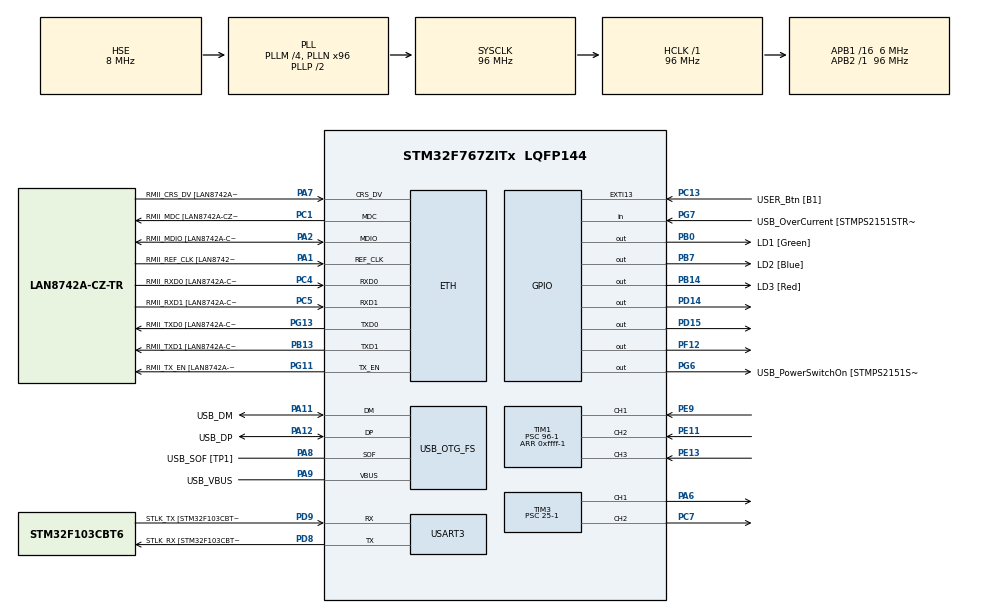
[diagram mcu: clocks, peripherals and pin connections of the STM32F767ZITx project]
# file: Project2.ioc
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ETH.MediaInterface=HAL_ETH_RMII_MODE
ETH.PHY_Name=LAN8742A_PHY_ADDRESS
ETH.PHY_Value=0
ETH.PhyAddress=0
Mcu.Family=STM32F7
Mcu.Name=STM32F767ZITx
Mcu.Package=LQFP144
NVIC.PriorityGroup=NVIC_PRIORITYGROUP_4
NVIC.TIM1_CC_IRQn=true\:0\:0\:false\:false\:true\:true\:true\:true
PA1.GPIO_Label=RMII_REF_CLK [LAN8742A-CZ-TR_REFCLK0]
PA1.Mode=RMII
PA1.Signal=ETH_REF_CLK
PA10.GPIO_Label=USB_ID
PA10.Signal=USB_OTG_FS_ID
PA11.GPIO_Label=USB_DM
PA11.Mode=Device_Only
PA11.Signal=USB_OTG_FS_DM
PA12.GPIO_Label=USB_DP
PA12.Mode=Device_Only
PA12.Signal=USB_OTG_FS_DP
PA13.GPIO_Label=TMS
PA13.Mode=Serial_Wire
PA13.Signal=SYS_JTMS-SWDIO
PA14.GPIO_Label=TCK
PA14.Mode=Serial_Wire
PA14.Signal=SYS_JTCK-SWCLK
PA2.GPIO_Label=RMII_MDIO [LAN8742A-CZ-TR_MDIO]
PA2.Mode=RMII
PA2.Signal=ETH_MDIO
PA6.Signal=S_TIM3_CH1
PA7.GPIO_Label=RMII_CRS_DV [LAN8742A-CZ-TR_CRS_DV]
PA7.Mode=RMII
PA7.Signal=ETH_CRS_DV
PA8.GPIO_Label=USB_SOF [TP1]
PA8.Mode=Activate_SOF_FS
PA8.Signal=USB_OTG_FS_SOF
PA9.GPIO_Label=USB_VBUS
PA9.Mode=Activate_VBUS
PA9.Signal=USB_OTG_FS_VBUS
PB0.GPIO_Label=LD1 [Green]
PB0.Signal=GPIO_Output
PB13.GPIO_Label=RMII_TXD1 [LAN8742A-CZ-TR_TXD1]
PB13.Mode=RMII
PB13.Signal=ETH_TXD1
PB14.GPIO_Label=LD3 [Red]
PB14.Signal=GPIO_Output
PB3.GPIO_Label=SWO
PB3.Signal=SYS_JTDO-SWO
PB7.GPIO_Label=LD2 [Blue]
PB7.Signal=GPIO_Output
PC1.GPIO_Label=RMII_MDC [LAN8742A-CZ-TR_MDC]
PC1.Mode=RMII
PC1.Signal=ETH_MDC
PC13.GPIO_Label=USER_Btn [B1]
PC13.Signal=GPXTI13
PC14/OSC32_IN.Mode=LSE-External-Oscillator
PC14/OSC32_IN.Signal=RCC_OSC32_IN
PC15/OSC32_OUT.Mode=LSE-External-Oscillator
PC15/OSC32_OUT.Signal=RCC_OSC32_OUT
PC4.GPIO_Label=RMII_RXD0 [LAN8742A-CZ-TR_RXD0]
PC4.Mode=RMII
PC4.Signal=ETH_RXD0
PC5.GPIO_Label=RMII_RXD1 [LAN8742A-CZ-TR_RXD1]
PC5.Mode=RMII
PC5.Signal=ETH_RXD1
PC7.Signal=S_TIM3_CH2
PD14.Signal=GPIO_Output
PD15.Signal=GPIO_Output
PD8.GPIO_Label=STLK_RX [STM32F103CBT6_PA3]
PD8.Mode=Asynchronous
PD8.Signal=USART3_TX
PD9.GPIO_Label=STLK_TX [STM32F103CBT6_PA2]
PD9.Mode=Asynchronous
PD9.Signal=USART3_RX
PE11.Signal=S_TIM1_CH2
PE13.Signal=S_TIM1_CH3
PE9.Signal=S_TIM1_CH1
PF12.Signal=GPIO_Output
PG11.GPIO_Label=RMII_TX_EN [LAN8742A-CZ-TR_TXEN]
PG11.Mode=RMII
PG11.Signal=ETH_TX_EN
PG13.GPIO_Label=RMII_TXD0 [LAN8742A-CZ-TR_TXD0]
PG13.Mode=RMII
PG13.Signal=ETH_TXD0
PG6.GPIO_Label=USB_PowerSwitchOn [STMPS2151STR_EN]
PG6.Signal=GPIO_Output
PG7.GPIO_Label=USB_OverCurrent [STMPS2151STR_FAULT]
PG7.Signal=GPIO_Input
PH0/OSC_IN.GPIO_Label=MCO [STM32F103CBT6_PA8]
PH0/OSC_IN.Mode=HSE-External-Clock-Source
PH0/OSC_IN.Signal=RCC_OSC_IN
PH1/OSC_OUT.Mode=HSE-External-Clock-Source
PH1/OSC_OUT.Signal=RCC_OSC_OUT
ProjectManager.HeapSize=0x200
ProjectManager.StackSize=0x400
ProjectManager.TargetToolchain=STM32CubeIDE
RCC.48MHZClocksFreq_Value=24000000
RCC.AHBFreq_Value=96000000
RCC.APB1CLKDivider=RCC_HCLK_DIV16
RCC.APB1Freq_Value=6000000
RCC.APB1TimFreq_Value=12000000
RCC.APB2Freq_Value=96000000
RCC.APB2TimFreq_Value=96000000
RCC.CortexFreq_Value=96000000
RCC.HCLKFreq_Value=96000000
RCC.HSE_VALUE=8000000
RCC.HSI_VALUE=16000000
RCC.PLLM=4
RCC.PLLMUL=RCC_PLL_MUL9
RCC.PLLN=96
RCC.PLLQ=4
RCC.PRESCALERUSB=RCC_USBCLKSOURCE_PLL_DIV1_5
RCC.SYSCLKFreq_VALUE=96000000
RCC.SYSCLKSource=RCC_SYSCLKSOURCE_PLLCLK
RCC.SYSCLKSourceVirtual=RCC_SYSCLKSOURCE_PLLCLK
RCC.USBFreq_Value=48000000
RCC.VCOOutputFreq_Value=192000000
SH.S_TIM1_CH1.0=TIM1_CH1,Input_Capture1_from_TI1
SH.S_TIM1_CH2.0=TIM1_CH2,Input_Capture2_from_TI2
SH.S_TIM1_CH3.0=TIM1_CH3,Input_Capture3_from_TI3
SH.S_TIM3_CH1.0=TIM3_CH1,PWM Generation1 CH1
SH.S_TIM3_CH2.0=TIM3_CH2,PWM Generation2 CH2
TIM1.Channel-Input_Capture1_from_TI1=TIM_CHANNEL_1
TIM1.Channel-Input_Capture2_from_TI2=TIM_CHANNEL_2
TIM1.Channel-Input_Capture3_from_TI3=TIM_CHANNEL_3
TIM1.Period=0xffff-1
TIM1.Prescaler=96-1
TIM3.Channel-PWM\ Generation1\ CH1=TIM_CHANNEL_1
TIM3.Channel-PWM\ Generation2\ CH2=TIM_CHANNEL_2
TIM3.Period=1000-1
TIM3.Prescaler=25-1
USART3.VirtualMode-Asynchronous=VM_ASYNC
USB_OTG_FS.VirtualMode=Device_Only
VP_TIM3_VS_ClockSourceINT.Mode=Internal
board=NUCLEO-F767ZI

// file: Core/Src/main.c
/* USER CODE BEGIN Header */
/**
  ******************************************************************************
  * @file           : main.c
  * @brief          : Main program body
  ******************************************************************************
  * @attention
  *
  * Copyright (c) 2023 STMicroelectronics.
  * All rights reserved.
  *
  * This software is licensed under terms that can be found in the LICENSE file
  * in the root directory of this software component.
  * If no LICENSE file comes with this software, it is provided AS-IS.
  *
  ******************************************************************************
  */
/* USER CODE END Header */
#include "main.h"
#include "string.h"

#if defined ( __ICCARM__ ) /*!< IAR Compiler */
#pragma location=0x2007c000
ETH_DMADescTypeDef  DMARxDscrTab[ETH_RX_DESC_CNT]; /* Ethernet Rx DMA Descriptors */
#pragma location=0x2007c0a0
ETH_DMADescTypeDef  DMATxDscrTab[ETH_TX_DESC_CNT]; /* Ethernet Tx DMA Descriptors */

#elif defined ( __CC_ARM )  /* MDK ARM Compiler */

__attribute__((at(0x2007c000))) ETH_DMADescTypeDef  DMARxDscrTab[ETH_RX_DESC_CNT]; /* Ethernet Rx DMA Descriptors */
__attribute__((at(0x2007c0a0))) ETH_DMADescTypeDef  DMATxDscrTab[ETH_TX_DESC_CNT]; /* Ethernet Tx DMA Descriptors */

#elif defined ( __GNUC__ ) /* GNU Compiler */
ETH_DMADescTypeDef DMARxDscrTab[ETH_RX_DESC_CNT] __attribute__((section(".RxDecripSection"))); /* Ethernet Rx DMA Descriptors */
ETH_DMADescTypeDef DMATxDscrTab[ETH_TX_DESC_CNT] __attribute__((section(".TxDecripSection")));   /* Ethernet Tx DMA Descriptors */

#endif

ETH_TxPacketConfig TxConfig;

ETH_HandleTypeDef heth;

TIM_HandleTypeDef htim1;
TIM_HandleTypeDef htim3;

UART_HandleTypeDef huart3;

PCD_HandleTypeDef hpcd_USB_OTG_FS;

void SystemClock_Config(void);
static void MX_GPIO_Init(void);
static void MX_ETH_Init(void);
static void MX_USART3_UART_Init(void);
static void MX_USB_OTG_FS_PCD_Init(void);
static void MX_TIM1_Init(void);
static void MX_TIM3_Init(void);

/* USER CODE BEGIN 0 */

// CONSTANTS
#define TRIG_PINL GPIO_PIN_14
#define TRIG_PORTL GPIOD

#define TRIG_PINC GPIO_PIN_15
#define TRIG_PORTC GPIOD

#define TRIG_PINR GPIO_PIN_12
#define TRIG_PORTR GPIOF

// GLOBALS
uint32_t IC_Val1[3] = {0,0,0};
uint32_t IC_Val2[3] = {0,0,0};
uint32_t Difference[3] = {0,0,0};
uint8_t Is_First_Captured[3] = {0,0,0};  // is the first value captured ?
float Distance[3] = {0,0,0};

// DELAY FUNCTION
void delay (uint16_t time)
{
	__HAL_TIM_SET_COUNTER(&htim1,0);
	while(__HAL_TIM_GET_COUNTER(&htim1) < time);
}

// CALLBACK FUNCTION
void HAL_TIM_IC_CaptureCallback(TIM_HandleTypeDef *htim)
{
	if (htim->Channel == HAL_TIM_ACTIVE_CHANNEL_1)  // if the interrupt source is channel1
	{
		if (Is_First_Captured[0]==0) // if the first value is not captured
		{
			IC_Val1[0] = HAL_TIM_ReadCapturedValue(htim, TIM_CHANNEL_1); // read the first value
			Is_First_Captured[0] = 1;  // set the first captured as true
			// Now change the polarity to falling edge
			__HAL_TIM_SET_CAPTUREPOLARITY(htim, TIM_CHANNEL_1, TIM_INPUTCHANNELPOLARITY_FALLING);
		}

		else if (Is_First_Captured[0]==1)   // if the first is already captured
		{
			IC_Val2[0] = HAL_TIM_ReadCapturedValue(htim, TIM_CHANNEL_1);  // read second value
			__HAL_TIM_SET_COUNTER(htim, 0);  // reset the counter

			if (IC_Val2[0] > IC_Val1[0])
			{
				Difference[0] = IC_Val2[0]-IC_Val1[0];
			}

			else if (IC_Val1[0] > IC_Val2[0])

			{
				Difference[0] = (0xffff - IC_Val1[0]) + IC_Val2[0];
			}

			Distance[0] = Difference[0] * .0344/2;
			Is_First_Captured[0] = 0; // set it back to false

			// set polarity to rising edge
			__HAL_TIM_SET_CAPTUREPOLARITY(htim, TIM_CHANNEL_1, TIM_INPUTCHANNELPOLARITY_RISING);
			__HAL_TIM_DISABLE_IT(&htim1, TIM_IT_CC1);

		}
	}

	// CHANNEL 2
	else if (htim->Channel == HAL_TIM_ACTIVE_CHANNEL_2)  // if the interrupt source is channel2
	{
		if (Is_First_Captured[1]==0) // if the first value is not captured
			{
				IC_Val1[1] = HAL_TIM_ReadCapturedValue(htim, TIM_CHANNEL_2); // read the first value
				Is_First_Captured[1] = 1;  // set the first captured as true
				// Now change the polarity to falling edge
				__HAL_TIM_SET_CAPTUREPOLARITY(htim, TIM_CHANNEL_2, TIM_INPUTCHANNELPOLARITY_FALLING);
			}

		else if (Is_First_Captured[1]==1)   // if the first is already captured
		{
			IC_Val2[1] = HAL_TIM_ReadCapturedValue(htim, TIM_CHANNEL_2);  // read second value
			__HAL_TIM_SET_COUNTER(htim, 0);  // reset the counter

			if (IC_Val2[1] > IC_Val1[1])
			{
				Difference[1] = IC_Val2[1]-IC_Val1[1];
			}

			else if (IC_Val1[1] > IC_Val2[1])

			{
				Difference[1] = (0xffff - IC_Val1[1]) + IC_Val2[1];
			}

			Distance[1] = Difference[1] * .0344/2;
			Is_First_Captured[1] = 0; // set it back to false

			// set polarity to rising edge
			__HAL_TIM_SET_CAPTUREPOLARITY(htim, TIM_CHANNEL_2, TIM_INPUTCHANNELPOLARITY_RISING);
			__HAL_TIM_DISABLE_IT(&htim1, TIM_IT_CC2);

		}
	}

	// CHANNEL 3
	else if (htim->Channel == HAL_TIM_ACTIVE_CHANNEL_3)  // if the interrupt source is channel3
	{
		if (Is_First_Captured[2]==0) // if the first value is not captured
		{
			IC_Val1[2] = HAL_TIM_ReadCapturedValue(htim, TIM_CHANNEL_3); // read the first value
			Is_First_Captured[2] = 1;  // set the first captured as true
			// Now change the polarity to falling edge
			__HAL_TIM_SET_CAPTUREPOLARITY(htim, TIM_CHANNEL_3, TIM_INPUTCHANNELPOLARITY_FALLING);
		}

		else if (Is_First_Captured[2]==1)   // if the first is already captured
		{
			IC_Val2[2] = HAL_TIM_ReadCapturedValue(htim, TIM_CHANNEL_3);  // read second value
			__HAL_TIM_SET_COUNTER(htim, 0);  // reset the counter

			if (IC_Val2[2] > IC_Val1[2])
			{
				Difference[2] = IC_Val2[2]-IC_Val1[2];
			}

			else if (IC_Val1[2] > IC_Val2[2])

			{
				Difference[2] = (0xffff - IC_Val1[2]) + IC_Val2[2];
			}

			Distance[2] = Difference[2] * .0344/2;
			Is_First_Captured[2] = 0; // set it back to false

			// set polarity to rising edge
			__HAL_TIM_SET_CAPTUREPOLARITY(htim, TIM_CHANNEL_3, TIM_INPUTCHANNELPOLARITY_RISING);
			__HAL_TIM_DISABLE_IT(&htim1, TIM_IT_CC3);

		}
	}
}

// READ FUNCTION FOR SENSOR
void HCSR04_Trigger (void)
{
	HAL_GPIO_WritePin(TRIG_PORTL, TRIG_PINL, GPIO_PIN_SET);  // pull the TRIG pin HIGH
	HAL_GPIO_WritePin(TRIG_PORTC, TRIG_PINC, GPIO_PIN_SET);  // pull the TRIG pin HIGH
	HAL_GPIO_WritePin(TRIG_PORTR, TRIG_PINR, GPIO_PIN_SET);  // pull the TRIG pin HIGH
	delay(10);  // wait for 10 us
	HAL_GPIO_WritePin(TRIG_PORTL, TRIG_PINL, GPIO_PIN_RESET);  // pull the TRIG pin low
	HAL_GPIO_WritePin(TRIG_PORTC, TRIG_PINC, GPIO_PIN_RESET);  // pull the TRIG pin low
	HAL_GPIO_WritePin(TRIG_PORTR, TRIG_PINR, GPIO_PIN_RESET);  // pull the TRIG pin low

	__HAL_TIM_ENABLE_IT(&htim1, TIM_IT_CC1);
	__HAL_TIM_ENABLE_IT(&htim1, TIM_IT_CC2);
	__HAL_TIM_ENABLE_IT(&htim1, TIM_IT_CC3);
}

/* USER CODE END 0 */

int main(void)
{

  /* MCU Configuration--------------------------------------------------------*/

  /* Reset of all peripherals, Initializes the Flash interface and the Systick. */
  HAL_Init();

  /* Configure the system clock */
  SystemClock_Config();

  /* Initialize all configured peripherals */
  MX_GPIO_Init();
  MX_ETH_Init();
  MX_USART3_UART_Init();
  MX_USB_OTG_FS_PCD_Init();
  MX_TIM1_Init();
  MX_TIM3_Init();
  /* USER CODE BEGIN 2 */

  HAL_TIM_IC_Start_IT(&htim1, TIM_CHANNEL_1);  // start TIM1 Channel 1 in Input capture mode.
  HAL_TIM_IC_Start_IT(&htim1, TIM_CHANNEL_2);  // start TIM1 Channel 2 in Input capture mode.
  HAL_TIM_IC_Start_IT(&htim1, TIM_CHANNEL_3);  // start TIM1 Channel 3 in Input capture mode.

  // ESC Control
  TIM3->CCR1 = 990;
  TIM3->CCR2 = 990;
  HAL_TIM_PWM_Start(&htim3, TIM_CHANNEL_1);
  HAL_TIM_PWM_Start(&htim3, TIM_CHANNEL_2);

  HAL_Delay(1000);

  TIM3->CCR1 = 500;
  TIM3->CCR2 = 500;

  HAL_Delay(1000);

  //TIM3->CCR1 = 600;

  /* USER CODE END 2 */

  /* Infinite loop */
  while (1)
  {
	  //TIM3->CCR1 = 600;

	   for (int i=500; i < 990; i++) {
		   TIM3->CCR1 = i;
		   TIM3->CCR2 = i;
		   HAL_Delay(5);
	   }

	   for (int i=990; i > 500; i--) {
	   		   TIM3->CCR1 = i;
	   		   TIM3->CCR2 = i;
	   		   HAL_Delay(5);
	   	   }

  }
}

void SystemClock_Config(void)
{
  RCC_OscInitTypeDef RCC_OscInitStruct = {0};
  RCC_ClkInitTypeDef RCC_ClkInitStruct = {0};

  /** Configure LSE Drive Capability
  */
  HAL_PWR_EnableBkUpAccess();

  /** Configure the main internal regulator output voltage
  */
  __HAL_RCC_PWR_CLK_ENABLE();
  __HAL_PWR_VOLTAGESCALING_CONFIG(PWR_REGULATOR_VOLTAGE_SCALE3);

  /** Initializes the RCC Oscillators according to the specified parameters
  * in the RCC_OscInitTypeDef structure.
  */
  RCC_OscInitStruct.OscillatorType = RCC_OSCILLATORTYPE_HSE;
  RCC_OscInitStruct.HSEState = RCC_HSE_BYPASS;
  RCC_OscInitStruct.PLL.PLLState = RCC_PLL_ON;
  RCC_OscInitStruct.PLL.PLLSource = RCC_PLLSOURCE_HSE;
  RCC_OscInitStruct.PLL.PLLM = 4;
  RCC_OscInitStruct.PLL.PLLN = 96;
  RCC_OscInitStruct.PLL.PLLP = RCC_PLLP_DIV2;
  RCC_OscInitStruct.PLL.PLLQ = 4;
  RCC_OscInitStruct.PLL.PLLR = 2;
  if (HAL_RCC_OscConfig(&RCC_OscInitStruct) != HAL_OK)
  {
    Error_Handler();
  }

  /** Activate the Over-Drive mode
  */
  if (HAL_PWREx_EnableOverDrive() != HAL_OK)
  {
    Error_Handler();
  }

  /** Initializes the CPU, AHB and APB buses clocks
  */
  RCC_ClkInitStruct.ClockType = RCC_CLOCKTYPE_HCLK|RCC_CLOCKTYPE_SYSCLK
                              |RCC_CLOCKTYPE_PCLK1|RCC_CLOCKTYPE_PCLK2;
  RCC_ClkInitStruct.SYSCLKSource = RCC_SYSCLKSOURCE_PLLCLK;
  RCC_ClkInitStruct.AHBCLKDivider = RCC_SYSCLK_DIV1;
  RCC_ClkInitStruct.APB1CLKDivider = RCC_HCLK_DIV16;
  RCC_ClkInitStruct.APB2CLKDivider = RCC_HCLK_DIV1;

  if (HAL_RCC_ClockConfig(&RCC_ClkInitStruct, FLASH_LATENCY_3) != HAL_OK)
  {
    Error_Handler();
  }
}

static void MX_ETH_Init(void)
{

   static uint8_t MACAddr[6];

  heth.Instance = ETH;
  MACAddr[0] = 0x00;
  MACAddr[1] = 0x80;
  MACAddr[2] = 0xE1;
  MACAddr[3] = 0x00;
  MACAddr[4] = 0x00;
  MACAddr[5] = 0x00;
  heth.Init.MACAddr = &MACAddr[0];
  heth.Init.MediaInterface = HAL_ETH_RMII_MODE;
  heth.Init.TxDesc = DMATxDscrTab;
  heth.Init.RxDesc = DMARxDscrTab;
  heth.Init.RxBuffLen = 1524;

  if (HAL_ETH_Init(&heth) != HAL_OK)
  {
    Error_Handler();
  }

  memset(&TxConfig, 0 , sizeof(ETH_TxPacketConfig));
  TxConfig.Attributes = ETH_TX_PACKETS_FEATURES_CSUM | ETH_TX_PACKETS_FEATURES_CRCPAD;
  TxConfig.ChecksumCtrl = ETH_CHECKSUM_IPHDR_PAYLOAD_INSERT_PHDR_CALC;
  TxConfig.CRCPadCtrl = ETH_CRC_PAD_INSERT;

}

static void MX_TIM1_Init(void)
{

  TIM_MasterConfigTypeDef sMasterConfig = {0};
  TIM_IC_InitTypeDef sConfigIC = {0};

  htim1.Instance = TIM1;
  htim1.Init.Prescaler = 96-1;
  htim1.Init.CounterMode = TIM_COUNTERMODE_UP;
  htim1.Init.Period = 0xffff-1;
  htim1.Init.ClockDivision = TIM_CLOCKDIVISION_DIV1;
  htim1.Init.RepetitionCounter = 0;
  htim1.Init.AutoReloadPreload = TIM_AUTORELOAD_PRELOAD_DISABLE;
  if (HAL_TIM_IC_Init(&htim1) != HAL_OK)
  {
    Error_Handler();
  }
  sMasterConfig.MasterOutputTrigger = TIM_TRGO_RESET;
  sMasterConfig.MasterOutputTrigger2 = TIM_TRGO2_RESET;
  sMasterConfig.MasterSlaveMode = TIM_MASTERSLAVEMODE_DISABLE;
  if (HAL_TIMEx_MasterConfigSynchronization(&htim1, &sMasterConfig) != HAL_OK)
  {
    Error_Handler();
  }
  sConfigIC.ICPolarity = TIM_INPUTCHANNELPOLARITY_RISING;
  sConfigIC.ICSelection = TIM_ICSELECTION_DIRECTTI;
  sConfigIC.ICPrescaler = TIM_ICPSC_DIV1;
  sConfigIC.ICFilter = 0;
  if (HAL_TIM_IC_ConfigChannel(&htim1, &sConfigIC, TIM_CHANNEL_1) != HAL_OK)
  {
    Error_Handler();
  }
  if (HAL_TIM_IC_ConfigChannel(&htim1, &sConfigIC, TIM_CHANNEL_2) != HAL_OK)
  {
    Error_Handler();
  }
  if (HAL_TIM_IC_ConfigChannel(&htim1, &sConfigIC, TIM_CHANNEL_3) != HAL_OK)
  {
    Error_Handler();
  }

}

static void MX_TIM3_Init(void)
{

  TIM_ClockConfigTypeDef sClockSourceConfig = {0};
  TIM_MasterConfigTypeDef sMasterConfig = {0};
  TIM_OC_InitTypeDef sConfigOC = {0};

  htim3.Instance = TIM3;
  htim3.Init.Prescaler = 25-1;
  htim3.Init.CounterMode = TIM_COUNTERMODE_UP;
  htim3.Init.Period = 1000-1;
  htim3.Init.ClockDivision = TIM_CLOCKDIVISION_DIV1;
  htim3.Init.AutoReloadPreload = TIM_AUTORELOAD_PRELOAD_DISABLE;
  if (HAL_TIM_Base_Init(&htim3) != HAL_OK)
  {
    Error_Handler();
  }
  sClockSourceConfig.ClockSource = TIM_CLOCKSOURCE_INTERNAL;
  if (HAL_TIM_ConfigClockSource(&htim3, &sClockSourceConfig) != HAL_OK)
  {
    Error_Handler();
  }
  if (HAL_TIM_PWM_Init(&htim3) != HAL_OK)
  {
    Error_Handler();
  }
  sMasterConfig.MasterOutputTrigger = TIM_TRGO_RESET;
  sMasterConfig.MasterSlaveMode = TIM_MASTERSLAVEMODE_DISABLE;
  if (HAL_TIMEx_MasterConfigSynchronization(&htim3, &sMasterConfig) != HAL_OK)
  {
    Error_Handler();
  }
  sConfigOC.OCMode = TIM_OCMODE_PWM1;
  sConfigOC.Pulse = 0;
  sConfigOC.OCPolarity = TIM_OCPOLARITY_HIGH;
  sConfigOC.OCFastMode = TIM_OCFAST_DISABLE;
  if (HAL_TIM_PWM_ConfigChannel(&htim3, &sConfigOC, TIM_CHANNEL_1) != HAL_OK)
  {
    Error_Handler();
  }
  if (HAL_TIM_PWM_ConfigChannel(&htim3, &sConfigOC, TIM_CHANNEL_2) != HAL_OK)
  {
    Error_Handler();
  }
  HAL_TIM_MspPostInit(&htim3);

}

static void MX_USART3_UART_Init(void)
{

  huart3.Instance = USART3;
  huart3.Init.BaudRate = 115200;
  huart3.Init.WordLength = UART_WORDLENGTH_8B;
  huart3.Init.StopBits = UART_STOPBITS_1;
  huart3.Init.Parity = UART_PARITY_NONE;
  huart3.Init.Mode = UART_MODE_TX_RX;
  huart3.Init.HwFlowCtl = UART_HWCONTROL_NONE;
  huart3.Init.OverSampling = UART_OVERSAMPLING_16;
  huart3.Init.OneBitSampling = UART_ONE_BIT_SAMPLE_DISABLE;
  huart3.AdvancedInit.AdvFeatureInit = UART_ADVFEATURE_NO_INIT;
  if (HAL_UART_Init(&huart3) != HAL_OK)
  {
    Error_Handler();
  }

}

static void MX_USB_OTG_FS_PCD_Init(void)
{

  hpcd_USB_OTG_FS.Instance = USB_OTG_FS;
  hpcd_USB_OTG_FS.Init.dev_endpoints = 6;
  hpcd_USB_OTG_FS.Init.speed = PCD_SPEED_FULL;
  hpcd_USB_OTG_FS.Init.dma_enable = DISABLE;
  hpcd_USB_OTG_FS.Init.phy_itface = PCD_PHY_EMBEDDED;
  hpcd_USB_OTG_FS.Init.Sof_enable = ENABLE;
  hpcd_USB_OTG_FS.Init.low_power_enable = DISABLE;
  hpcd_USB_OTG_FS.Init.lpm_enable = DISABLE;
  hpcd_USB_OTG_FS.Init.vbus_sensing_enable = ENABLE;
  hpcd_USB_OTG_FS.Init.use_dedicated_ep1 = DISABLE;
  if (HAL_PCD_Init(&hpcd_USB_OTG_FS) != HAL_OK)
  {
    Error_Handler();
  }

}

static void MX_GPIO_Init(void)
{
  GPIO_InitTypeDef GPIO_InitStruct = {0};

  /* GPIO Ports Clock Enable */
  __HAL_RCC_GPIOC_CLK_ENABLE();
  __HAL_RCC_GPIOH_CLK_ENABLE();
  __HAL_RCC_GPIOA_CLK_ENABLE();
  __HAL_RCC_GPIOB_CLK_ENABLE();
  __HAL_RCC_GPIOF_CLK_ENABLE();
  __HAL_RCC_GPIOE_CLK_ENABLE();
  __HAL_RCC_GPIOD_CLK_ENABLE();
  __HAL_RCC_GPIOG_CLK_ENABLE();

  /*Configure GPIO pin Output Level */
  HAL_GPIO_WritePin(GPIOB, LD1_Pin|LD3_Pin|LD2_Pin, GPIO_PIN_RESET);

  /*Configure GPIO pin Output Level */
  HAL_GPIO_WritePin(GPIOF, GPIO_PIN_12, GPIO_PIN_RESET);

  /*Configure GPIO pin Output Level */
  HAL_GPIO_WritePin(GPIOD, GPIO_PIN_14|GPIO_PIN_15, GPIO_PIN_RESET);

  /*Configure GPIO pin Output Level */
  HAL_GPIO_WritePin(USB_PowerSwitchOn_GPIO_Port, USB_PowerSwitchOn_Pin, GPIO_PIN_RESET);

  /*Configure GPIO pin : USER_Btn_Pin */
  GPIO_InitStruct.Pin = USER_Btn_Pin;
  GPIO_InitStruct.Mode = GPIO_MODE_IT_RISING;
  GPIO_InitStruct.Pull = GPIO_NOPULL;
  HAL_GPIO_Init(USER_Btn_GPIO_Port, &GPIO_InitStruct);

  /*Configure GPIO pins : LD1_Pin LD3_Pin LD2_Pin */
  GPIO_InitStruct.Pin = LD1_Pin|LD3_Pin|LD2_Pin;
  GPIO_InitStruct.Mode = GPIO_MODE_OUTPUT_PP;
  GPIO_InitStruct.Pull = GPIO_NOPULL;
  GPIO_InitStruct.Speed = GPIO_SPEED_FREQ_LOW;
  HAL_GPIO_Init(GPIOB, &GPIO_InitStruct);

  /*Configure GPIO pin : PF12 */
  GPIO_InitStruct.Pin = GPIO_PIN_12;
  GPIO_InitStruct.Mode = GPIO_MODE_OUTPUT_PP;
  GPIO_InitStruct.Pull = GPIO_NOPULL;
  GPIO_InitStruct.Speed = GPIO_SPEED_FREQ_LOW;
  HAL_GPIO_Init(GPIOF, &GPIO_InitStruct);

  /*Configure GPIO pins : PD14 PD15 */
  GPIO_InitStruct.Pin = GPIO_PIN_14|GPIO_PIN_15;
  GPIO_InitStruct.Mode = GPIO_MODE_OUTPUT_PP;
  GPIO_InitStruct.Pull = GPIO_NOPULL;
  GPIO_InitStruct.Speed = GPIO_SPEED_FREQ_LOW;
  HAL_GPIO_Init(GPIOD, &GPIO_InitStruct);

  /*Configure GPIO pin : USB_PowerSwitchOn_Pin */
  GPIO_InitStruct.Pin = USB_PowerSwitchOn_Pin;
  GPIO_InitStruct.Mode = GPIO_MODE_OUTPUT_PP;
  GPIO_InitStruct.Pull = GPIO_NOPULL;
  GPIO_InitStruct.Speed = GPIO_SPEED_FREQ_LOW;
  HAL_GPIO_Init(USB_PowerSwitchOn_GPIO_Port, &GPIO_InitStruct);

  /*Configure GPIO pin : USB_OverCurrent_Pin */
  GPIO_InitStruct.Pin = USB_OverCurrent_Pin;
  GPIO_InitStruct.Mode = GPIO_MODE_INPUT;
  GPIO_InitStruct.Pull = GPIO_NOPULL;
  HAL_GPIO_Init(USB_OverCurrent_GPIO_Port, &GPIO_InitStruct);

}

void Error_Handler(void)
{
  __disable_irq();
  while (1)
  {
  }
}
